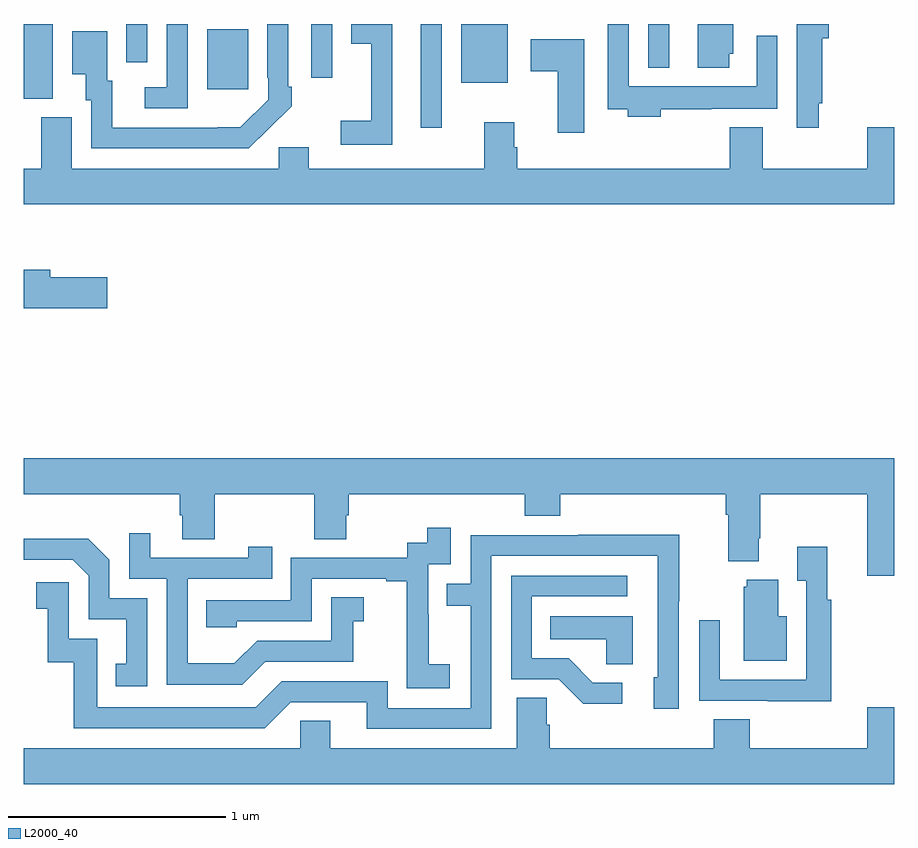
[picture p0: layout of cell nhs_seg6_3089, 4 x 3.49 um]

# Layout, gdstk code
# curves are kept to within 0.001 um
import gdstk
lib = gdstk.Library(unit=1e-6, precision=1e-09)
def R(c, l, rs):  # rectangles x0, y0, x1, y1
    for r in rs: c.add(gdstk.rectangle(r[:2], r[2:], *l))
def P(c, l, *ps):  # polygons
    for p in ps: c.add(gdstk.Polygon(p, *l))
L2000_40 = (2000, 40)

nhs_seg6_3089 = lib.new_cell('nhs_seg6_3089')
R(nhs_seg6_3089, L2000_40, [(294.824,945.024,294.921,945.5), (293,945.157,293.134,945.5), (293.843,945.201,294.031,945.475), (295.01,945.23,295.225,945.5), (294.321,945.252,294.417,945.5), (295.869,945.299,295.966,945.5), (293.472,945.324,293.568,945.5)])
P(nhs_seg6_3089, L2000_40, [(296.242,945.363),(296.26,945.363),(296.26,945.5),(296.096,945.5),(296.096,945.3),(296.242,945.3)],
  [(295.928,945.108),(296.159,945.108),(296.159,945.11),(296.463,945.11),(296.463,945.445),(296.367,945.445),(296.367,945.214),(295.779,945.214),(295.779,945.5),(295.683,945.5),(295.683,945.108),(295.775,945.108),(295.775,945.074),(295.928,945.074)],
  [(294.125,945.019),(294.126,945.018),(294.231,945.123),(294.231,945.211),(294.216,945.211),(294.216,945.5),(294.12,945.5),(294.12,945.253),(294.123,945.253),(294.123,945.153),(293.995,945.025),(293.407,945.024),(293.407,945.24),(293.383,945.24),(293.383,945.466),(293.222,945.466),(293.222,945.269),(293.285,945.269),(293.285,945.15),(293.31,945.15),(293.31,944.928),(294.034,944.928)],
  [(296.652,945.136),(296.669,945.136),(296.669,945.434),(296.699,945.434),(296.699,945.5),(296.553,945.5),(296.553,945.024),(296.652,945.024)],
  [(294.694,945.5),(294.506,945.5),(294.506,945.41),(294.596,945.41),(294.596,945.055),(294.456,945.055),(294.456,944.946),(294.694,944.946)],
  [(293.754,945.5),(293.658,945.5),(293.658,945.21),(293.556,945.21),(293.556,945.114),(293.754,945.114)],
  [(295.576,945.43),(295.329,945.43),(295.329,945.283),(295.454,945.283),(295.454,945),(295.576,945)],
  [(297,945.025),(296.876,945.025),(296.876,944.836),(296.395,944.836),(296.395,945.025),(296.243,945.025),(296.243,944.836),(295.268,944.836),(295.268,944.934),(295.255,944.934),(295.255,945.049),(295.115,945.049),(295.115,944.836),(294.31,944.836),(294.31,944.934),(294.171,944.934),(294.171,944.836),(293.221,944.836),(293.221,945.072),(293.081,945.072),(293.081,944.836),(293,944.836),(293,944.672),(297,944.672)],
  [(293.383,944.337),(293.122,944.337),(293.122,944.371),(293,944.371),(293,944.195),(293.383,944.195)],
  [(297,943.504),(293,943.504),(293,943.34),(293.717,943.34),(293.717,943.242),(293.729,943.242),(293.729,943.132),(293.877,943.132),(293.877,943.34),(294.334,943.34),(294.334,943.132),(294.481,943.132),(294.481,943.242),(294.494,943.242),(294.494,943.34),(295.301,943.34),(295.301,943.241),(295.466,943.241),(295.466,943.34),(296.225,943.34),(296.225,943.244),(296.237,943.244),(296.237,943.031),(296.377,943.031),(296.377,943.138),(296.385,943.138),(296.385,943.34),(296.876,943.34),(296.876,942.966),(297,942.966)],
  [(294.958,942.559),(294.86,942.559),(294.86,942.788),(294.858,942.788),(294.858,943.017),(294.963,943.017),(294.963,943.186),(294.855,943.186),(294.855,943.116),(294.762,943.116),(294.762,943.047),(294.228,943.047),(294.228,942.852),(293.839,942.852),(293.839,942.729),(293.979,942.729),(293.979,942.756),(294.324,942.756),(294.324,942.951),(294.665,942.951),(294.665,942.939),(294.761,942.939),(294.761,942.655),(294.76,942.655),(294.76,942.449),(294.958,942.449)],
  [(294.109,942.57),(294.513,942.57),(294.513,942.755),(294.562,942.755),(294.562,942.865),(294.414,942.865),(294.414,942.666),(294.072,942.666),(293.968,942.562),(293.754,942.562),(293.754,942.951),(294.143,942.951),(294.143,943.099),(294.032,943.099),(294.032,943.047),(293.581,943.047),(293.581,943.159),(293.484,943.159),(293.484,942.951),(293.658,942.951),(293.658,942.465),(294.004,942.465)],
  [(295.149,943.056),(295.914,943.056),(295.914,942.498),(295.895,942.498),(295.895,942.354),(296.01,942.354),(296.01,942.847),(296.013,942.847),(296.013,943.154),(295.549,943.154),(295.549,943.152),(295.053,943.152),(295.053,942.927),(294.943,942.927),(294.943,942.826),(295.053,942.826),(295.053,942.357),(294.672,942.357),(294.672,942.48),(294.186,942.48),(294.066,942.36),(293.337,942.36),(293.337,942.675),(293.208,942.675),(293.208,942.934),(293.058,942.934),(293.058,942.813),(293.111,942.813),(293.111,942.567),(293.229,942.567),(293.229,942.264),(294.108,942.264),(294.228,942.384),(294.575,942.384),(294.575,942.261),(295.149,942.261)],
  [(293.568,942.861),(293.394,942.861),(293.394,943.038),(293.296,943.136),(293,943.136),(293,943.038),(293.226,943.038),(293.298,942.966),(293.298,942.765),(293.471,942.765),(293.471,942.561),(293.422,942.561),(293.422,942.456),(293.568,942.456)],
  [(296.711,942.854),(296.693,942.854),(296.693,943.099),(296.555,943.099),(296.555,942.943),(296.595,942.943),(296.595,942.486),(296.199,942.486),(296.199,942.76),(296.103,942.76),(296.103,942.39),(296.419,942.39),(296.419,942.389),(296.711,942.389)],
  [(295.75,942.474),(295.615,942.474),(295.504,942.585),(295.335,942.585),(295.335,942.87),(295.774,942.87),(295.774,942.966),(295.239,942.966),(295.239,942.489),(295.458,942.489),(295.571,942.377),(295.75,942.377)],
  [(296.506,942.778),(296.467,942.778),(296.467,942.946),(296.321,942.946),(296.321,942.915),(296.309,942.915),(296.309,942.575),(296.506,942.575)],
  [(295.798,942.778),(295.42,942.778),(295.42,942.674),(295.677,942.674),(295.677,942.559),(295.798,942.559)],
  [(297,942.361),(296.876,942.361),(296.876,942.172),(296.336,942.172),(296.336,942.305),(296.171,942.305),(296.171,942.172),(295.418,942.172),(295.418,942.281),(295.404,942.281),(295.404,942.404),(295.265,942.404),(295.265,942.172),(294.409,942.172),(294.409,942.299),(294.27,942.299),(294.27,942.172),(293,942.172),(293,942.008),(297,942.008)])

lib.write_gds('nhs_seg6_3089.gds')
